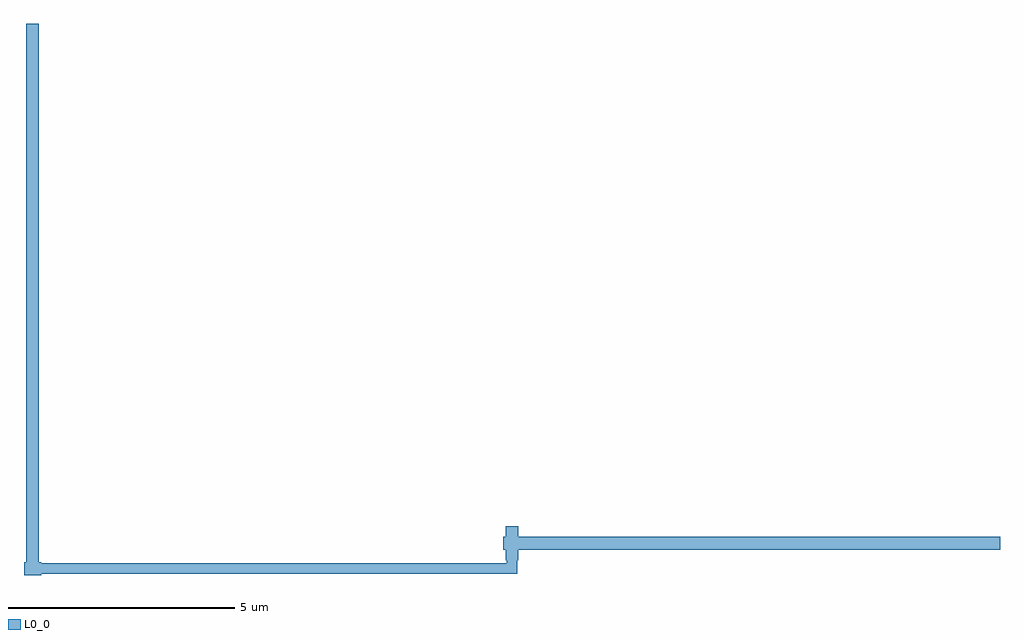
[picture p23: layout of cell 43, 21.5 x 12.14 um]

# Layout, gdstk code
import gdstk
lib = gdstk.Library(unit=1e-6, precision=1e-09)
def P(c, l, *ps):  # polygons
    for p in ps: c.add(gdstk.Polygon(p, *l))
L0_0 = (0, 0)

c_43 = lib.new_cell('43')
P(c_43, L0_0, [(1355.78,763.14),(1356.16,763.14),(1356.16,762.86),(1355.78,762.86),(1355.78,763.14)],
  [(1366.34,763.7),(1366.72,763.7),(1366.72,763.42),(1366.34,763.42),(1366.34,763.7)],
  [(1355.855,763.115),(1366.645,763.115),(1366.645,762.885),(1355.855,762.885),(1355.855,763.115)],
  [(1366.415,762.885),(1366.415,763.675),(1366.645,763.675),(1366.645,762.885),(1366.415,762.885)],
  [(1366.34,763.7),(1366.72,763.7),(1366.72,763.42),(1366.34,763.42),(1366.34,763.7)],
  [(1366.415,762.885),(1366.415,763.675),(1366.645,763.675),(1366.645,762.885),(1366.415,762.885)],
  [(1356.11,775),(1356.11,762.86),(1355.83,762.86),(1355.83,775),(1356.11,775)],
  [(1355.78,763.14),(1356.16,763.14),(1356.16,762.86),(1355.78,762.86),(1355.78,763.14)],
  [(1366.34,763.7),(1366.72,763.7),(1366.72,763.42),(1366.34,763.42),(1366.34,763.7)],
  [(1366.39,763.93),(1366.67,763.93),(1366.67,763.19),(1366.39,763.19),(1366.39,763.93)],
  [(1371.01,763.7),(1377.23,763.7),(1377.23,763.42),(1371.01,763.42),(1371.01,763.7)],
  [(1366.39,763.7),(1371.29,763.7),(1371.29,763.42),(1366.39,763.42),(1366.39,763.7)],
  [(1370.96,763.7),(1371.34,763.7),(1371.34,763.42),(1370.96,763.42),(1370.96,763.7)],
  [(1376.9,763.7),(1377.28,763.7),(1377.28,763.42),(1376.9,763.42),(1376.9,763.7)],
  [(1366.34,763.7),(1366.72,763.7),(1366.72,763.42),(1366.34,763.42),(1366.34,763.7)],
  [(1366.34,763.7),(1366.72,763.7),(1366.72,763.42),(1366.34,763.42),(1366.34,763.7)],
  [(1370.96,763.7),(1371.34,763.7),(1371.34,763.42),(1370.96,763.42),(1370.96,763.7)],
  [(1366.39,763.7),(1371.29,763.7),(1371.29,763.42),(1366.39,763.42),(1366.39,763.7)])

lib.write_gds('43.gds')
